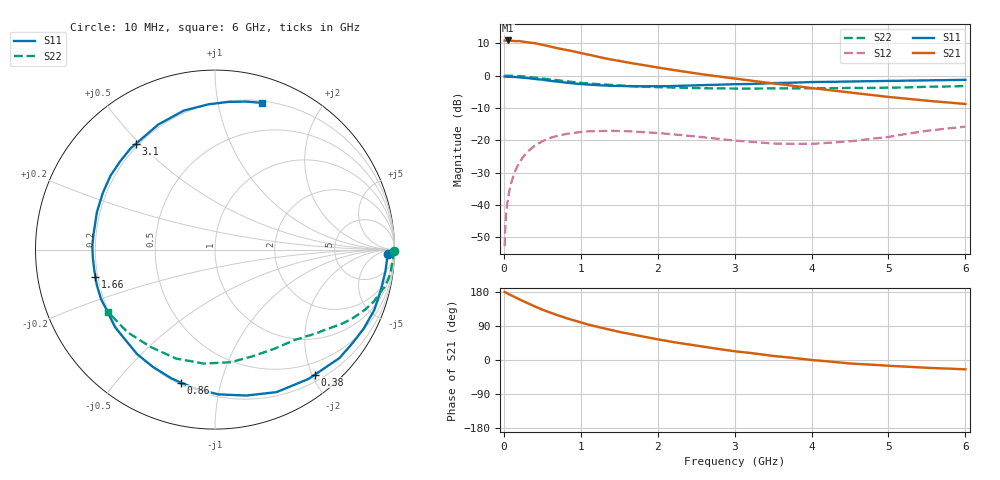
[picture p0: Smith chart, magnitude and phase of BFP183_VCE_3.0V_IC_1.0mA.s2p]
! Infineon Technologies  Discrete & RF Semiconductors
! BFP183
! VCE = 3.0 V,  IC =  1.0 mA
! Common Emitter S-Parameters:  Jan 2016
# GHz  S  MA  R  50
!  f  S11  S21  S12  S22
! GHz  MAG  ANG  MAG  ANG  MAG  ANG  MAG  ANG
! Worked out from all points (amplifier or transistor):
!   210 points, 10 MHz to 6 GHz, reference 50 ohm
!   highest |S21| = 10.8 dB at 50 MHz (marker M1)
!   |S21| within 3 dB of that: start of sweep to 828.6 MHz
!   unconditionally stable (mu >= 1): 2.464 GHz to end of sweep
!   at 185 MHz: K = 0.08, MSG = 19.2 dB, |S12| = -27.7 dB
!   at 1.52 GHz: K = 0.59, MSG = 10.8 dB, |S12| = -17.2 dB
!   at 6 GHz: K = 1.06, MAG = 2.0 dB, |S12| = -15.8 dB
!   S11 on the Smith chart (normalised r, x): 10 MHz: 36, -26; 380 MHz: 0.30, -2.04; 860 MHz: 0.21, -0.75; 1.66 GHz: 0.19, -0.11; 3.1 GHz: 0.19, +0.49; 6 GHz: 0.22, +1.35
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0.01  0.9647 -1.5  3.464 179.3  0.0023 93.5  0.9999 -0.5
0.025  0.9595 -3.7  3.456 178.1  0.0058 87.4  0.993 -1.2
0.05  0.9574 -7.1  3.486 175.1  0.0117 87.0  0.9951 -2.4
0.095  0.9513 -13.1  3.445 170.7  0.0214 81.0  0.9893 -4.6
0.16  0.9458 -22.3  3.406 164.2  0.0362 76.1  0.9854 -7.8
0.2  0.9382 -27.9  3.417 160.1  0.0446 73.2  0.9795 -9.7
0.38  0.8916 -51.4  3.185 143.5  0.0784 59.0  0.9355 -17.3
0.5  0.865 -66.6  2.996 132.9  0.0961 50.2  0.9005 -21.8
0.6  0.8319 -77.8  2.823 125.3  0.1083 44.2  0.8715 -25.0
0.7  0.8068 -88.7  2.639 118.1  0.1176 38.7  0.8442 -27.8
0.86  0.7645 -104.4  2.425 107.6  0.1278 30.7  0.8035 -31.7
1.02  0.7354 -119.6  2.202 97.9  0.134 23.7  0.7682 -35.1
1.3  0.7047 -142.3  1.862 83.6  0.1394 13.8  0.7253 -40.2
1.5  0.692 -156.6  1.685 74.1  0.1386 8.4  0.7012 -43.4
1.66  0.6835 -167.2  1.556 67.8  0.1364 4.6  0.686 -46.1
2.02  0.6819 171.7  1.319 53.8  0.1288 -1.5  0.6598 -51.9
2.6  0.7133 144.6  1.037 35.0  0.1109 -6.8  0.6363 -62.8
3.1  0.7362 126.6  0.869 21.0  0.0967 -5.0  0.6287 -73.3
3.5  0.7652 114.4  0.755 10.7  0.089 0.3  0.6335 -82.3
4.1  0.7949 100.6  0.621 -1.6  0.0892 12.6  0.6362 -98.5
5.1  0.829 83.3  0.455 -16.2  0.1179 26.8  0.6516 -126.2
6  0.8588 72.1  0.363 -24.6  0.1622 23.6  0.689 -149.5
